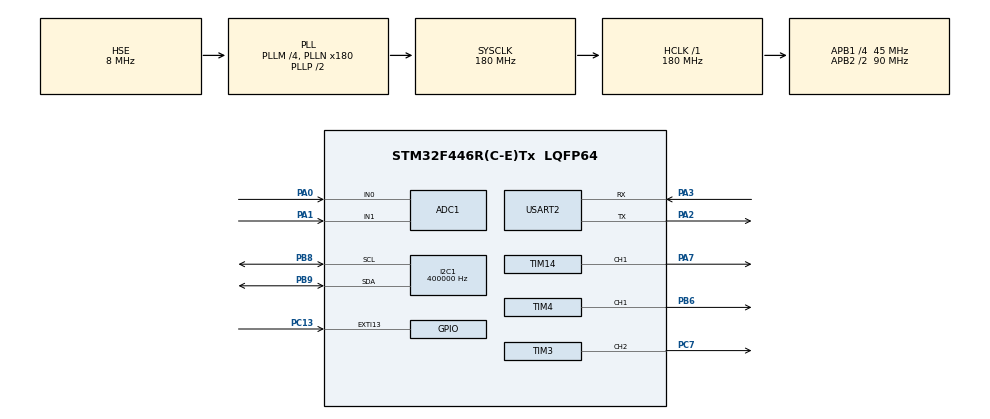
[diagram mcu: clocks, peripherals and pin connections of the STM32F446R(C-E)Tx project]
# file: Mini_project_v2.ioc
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ADC1.Channel-0\#ChannelRegularConversion=ADC_CHANNEL_0
ADC1.NbrOfConversionFlag=1
ADC1.Rank-0\#ChannelRegularConversion=1
ADC1.SamplingTime-0\#ChannelRegularConversion=ADC_SAMPLETIME_3CYCLES
ADC1.master=1
I2C1.ClockSpeed=400000
I2C1.I2C_Speed_Mode=I2C_Fast
Mcu.Family=STM32F4
Mcu.Name=STM32F446R(C-E)Tx
Mcu.Package=LQFP64
NVIC.EXTI15_10_IRQn=true\:0\:0\:false\:false\:true\:true\:true\:true
NVIC.PriorityGroup=NVIC_PRIORITYGROUP_4
NVIC.TIM2_IRQn=true\:0\:0\:false\:false\:true\:true\:true\:true
PA0-WKUP.Signal=ADCx_IN0
PA1.Signal=ADCx_IN1
PA2.Mode=Asynchronous
PA2.Signal=USART2_TX
PA3.Mode=Asynchronous
PA3.Signal=USART2_RX
PA7.Signal=S_TIM14_CH1
PB6.Signal=S_TIM4_CH1
PB8.Mode=I2C
PB8.Signal=I2C1_SCL
PB9.Mode=I2C
PB9.Signal=I2C1_SDA
PC13.GPIO_ModeDefaultEXTI=GPIO_MODE_IT_FALLING
PC13.Signal=GPXTI13
PC7.Signal=S_TIM3_CH2
PH0-OSC_IN.Mode=HSE-External-Clock-Source
PH0-OSC_IN.Signal=RCC_OSC_IN
PH1-OSC_OUT.Mode=HSE-External-Clock-Source
PH1-OSC_OUT.Signal=RCC_OSC_OUT
ProjectManager.HeapSize=0x200
ProjectManager.StackSize=0x1000
ProjectManager.TargetToolchain=STM32CubeIDE
RCC.AHBFreq_Value=180000000
RCC.APB1CLKDivider=RCC_HCLK_DIV4
RCC.APB1Freq_Value=45000000
RCC.APB1TimFreq_Value=90000000
RCC.APB2CLKDivider=RCC_HCLK_DIV2
RCC.APB2Freq_Value=90000000
RCC.APB2TimFreq_Value=180000000
RCC.CortexFreq_Value=180000000
RCC.HCLKFreq_Value=180000000
RCC.HSE_VALUE=8000000
RCC.PLLM=4
RCC.PLLN=180
RCC.PLLSourceVirtual=RCC_PLLSOURCE_HSE
RCC.SYSCLKFreq_VALUE=180000000
RCC.SYSCLKSource=RCC_SYSCLKSOURCE_PLLCLK
RCC.USBFreq_Value=180000000
RCC.VCOOutputFreq_Value=360000000
SH.ADCx_IN0.0=ADC1_IN0,IN0
SH.ADCx_IN1.0=ADC1_IN1,IN1
SH.S_TIM14_CH1.0=TIM14_CH1,PWM Generation1 CH1
SH.S_TIM3_CH2.0=TIM3_CH2,PWM Generation2 CH2
SH.S_TIM4_CH1.0=TIM4_CH1,PWM Generation1 CH1
STMicroelectronics.X-CUBE-AI.10.2.1.ActivationBufferSizeList=2672
STMicroelectronics.X-CUBE-AI.10.2.1.ActivationBuffers=pool0
STMicroelectronics.X-CUBE-AI.10.2.1.ActivationNames=pool0
STMicroelectronics.X-CUBE-AI.10.2.1.ActivationSizes=AI_NETWORK_DATA_ACTIVATION_1_SIZE
STMicroelectronics.X-CUBE-AI.10.2.1.HeapSize=0x800
STMicroelectronics.X-CUBE-AI.10.2.1.InternalRamActivationBufferMaxSize=AI_NETWORK_DATA_ACTIVATIONS_SIZE
STMicroelectronics.X-CUBE-AI.10.2.1.LatestDirectoryUsed-cf0006450a64355770e8880bdcd5a8620af22ce673d01f4f532666fdcc0a2b10=D\:\\STM Cube\\STM32 IDE workspace\\Mini_project_v2\\model_out
STMicroelectronics.X-CUBE-AI.10.2.1.MaximumNumberOfInputLayer=1
STMicroelectronics.X-CUBE-AI.10.2.1.MaximumNumberOfOutputLayer=1
STMicroelectronics.X-CUBE-AI.10.2.1.MaximumSizeOfInputLayer=1
STMicroelectronics.X-CUBE-AI.10.2.1.MaximumSizeOfOutputLayer=1,1
STMicroelectronics.X-CUBE-AI.10.2.1.ModelActualCompression-cf0006450a64355770e8880bdcd5a8620af22ce673d01f4f532666fdcc0a2b10=0.0
STMicroelectronics.X-CUBE-AI.10.2.1.ModelCompression-cf0006450a64355770e8880bdcd5a8620af22ce673d01f4f532666fdcc0a2b10=None
STMicroelectronics.X-CUBE-AI.10.2.1.ModelFlashOccupation-cf0006450a64355770e8880bdcd5a8620af22ce673d01f4f532666fdcc0a2b10=13472
STMicroelectronics.X-CUBE-AI.10.2.1.ModelHashList=cf0006450a64355770e8880bdcd5a8620af22ce673d01f4f532666fdcc0a2b10
STMicroelectronics.X-CUBE-AI.10.2.1.ModelKind-cf0006450a64355770e8880bdcd5a8620af22ce673d01f4f532666fdcc0a2b10=TFLITE
STMicroelectronics.X-CUBE-AI.10.2.1.ModelMacc-cf0006450a64355770e8880bdcd5a8620af22ce673d01f4f532666fdcc0a2b10=624
STMicroelectronics.X-CUBE-AI.10.2.1.ModelName-cf0006450a64355770e8880bdcd5a8620af22ce673d01f4f532666fdcc0a2b10=network
STMicroelectronics.X-CUBE-AI.10.2.1.ModelNameList=network
STMicroelectronics.X-CUBE-AI.10.2.1.ModelRamOccupation-cf0006450a64355770e8880bdcd5a8620af22ce673d01f4f532666fdcc0a2b10=2672
STMicroelectronics.X-CUBE-AI.10.2.1.ModelStructureFile-cf0006450a64355770e8880bdcd5a8620af22ce673d01f4f532666fdcc0a2b10=model_out/model.tflite
STMicroelectronics.X-CUBE-AI.10.2.1.ModelType-cf0006450a64355770e8880bdcd5a8620af22ce673d01f4f532666fdcc0a2b10=STM32Cube.AI MCU runtime
STMicroelectronics.X-CUBE-AI.10.2.1.ReadyForCodeGeneration=true
STMicroelectronics.X-CUBE-AI.10.2.1.StackSize=0x1000
STMicroelectronics.X-CUBE-AI.10.2.1.WorkingBufferStartAddrList=0xFFFFFFFF
STMicroelectronics.X-CUBE-AI.10.2.1.XAaCUBEAaAICcArtificialOoIntelligenceJjCore=true
STMicroelectronics.X-CUBE-AI.10.2.1.copyWeightToRam=false
STMicroelectronics.X-CUBE-AI.10.2.1.customLayerConfigEnabled=false
STMicroelectronics.X-CUBE-AI.10.2.1.noOnnxIoTranspose=false
STMicroelectronics.X-CUBE-AI.10.2.1.useInputAllocation=true
STMicroelectronics.X-CUBE-AI.10.2.1.useOutputAllocation=true
TIM14.AutoReloadPreload=TIM_AUTORELOAD_PRELOAD_ENABLE
TIM14.Channel=TIM_CHANNEL_1
TIM14.Period=999
TIM14.Prescaler=89
TIM2.AutoReloadPreload=TIM_AUTORELOAD_PRELOAD_ENABLE
TIM2.Period=9999
TIM2.Prescaler=8999
TIM3.AutoReloadPreload=TIM_AUTORELOAD_PRELOAD_ENABLE
TIM3.Channel-PWM\ Generation2\ CH2=TIM_CHANNEL_2
TIM3.Period=999
TIM3.Prescaler=89
TIM4.AutoReloadPreload=TIM_AUTORELOAD_PRELOAD_ENABLE
TIM4.Channel-PWM\ Generation1\ CH1=TIM_CHANNEL_1
TIM4.Period=999
TIM4.Prescaler=89
USART2.VirtualMode=VM_ASYNC
VP_STMicroelectronics.X-CUBE-AI_VS_ArtificialOoIntelligenceJjXAaCUBEAaAI_10.2.1.Mode=ArtificialOoIntelligenceJjXAaCUBEAaAI
VP_TIM14_VS_ClockSourceINT.Mode=Enable_Timer
VP_TIM2_VS_ClockSourceINT.Mode=Internal
board=custom

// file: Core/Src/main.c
/* USER CODE BEGIN Header */
/**
  ******************************************************************************
  * @file           : main.c
  * @brief          : Main program body
  ******************************************************************************
  * @attention
  *
  * Copyright (c) 2026 STMicroelectronics.
  * All rights reserved.
  *
  * This software is licensed under terms that can be found in the LICENSE file
  * in the root directory of this software component.
  * If no LICENSE file comes with this software, it is provided AS-IS.
  *
  ******************************************************************************
  */
/* USER CODE END Header */
#include "main.h"
#include "adc.h"
#include "i2c.h"
#include "tim.h"
#include "usart.h"
#include "gpio.h"

/* USER CODE BEGIN Includes */
#include "logging.h"
#include "sensor_acquisition.h"
#include "workload_generator.h"
#include "system_resource.h"
#include "app_config.h"
#include "feature_extraction.h"
#include "predictor.h"
#include "reaction.h"
#include "battery.h"
#include "fan.h"
#include "status_led.h"
#include "uart_cmd.h"
#include "oled.h"
/* USER CODE END Includes */

/* USER CODE BEGIN PV */
/* Set by interrupts; any of them wakes the main loop out of a busy slice or __WFI */
static volatile uint8_t tick_flag = 0;
static volatile uint8_t button_flag = 0;
static float pot_pct = 0.0f;          /* last pot dial reading, shown on the [SYS] line */
static volatile uint8_t app_event = 0;

static AppMode_t app_mode = APP_MODE_RUN;

/* Idle baseline for the die temperature */
static uint8_t  calibrating = 1;
static uint32_t baseline_n = 0;
static float    baseline_sum = 0.0f;
static float    baseline_c = 0.0f;

/* Moving average of the die temperature */
static float    temp_hist[TEMP_SMOOTH_N];
static uint32_t temp_count = 0;

/* Power averaged over each 1 s slot (sampled every POWER_SAMPLE_MS) */
static float    pwr_sum_mw = 0.0f;
static float    cur_sum_ma = 0.0f;
static float    volt_sum_v = 0.0f;
static uint32_t pwr_n = 0;
static uint32_t last_power_ms = 0;

static uint32_t slot_start_ms = 0;
static uint32_t last_tick_ms = 0;

static const char *LEVEL_NAMES[] = { "IDLE", "LOW", "MED", "HIGH" };

/* Static RAM (.data + .bss) from the linker script, shown on the OLED */
extern uint8_t _sdata, _ebss;
/* USER CODE END PV */

void SystemClock_Config(void);
/* USER CODE BEGIN PFP */
static const char *short_risk(RiskLevel_t r)
{
    static const char *n[] = { "NORM", "CAUT", "CRIT" };
    return (r <= RISK_CRITICAL) ? n[r] : "?";
}

/* One screen, refreshed every second; sent page by page from the main loop */
static void show_oled(uint8_t cal, const Prediction_t *pred, float rise, float t_die, float p_mw,
                      uint8_t wl_req, uint8_t wl_eff, const DataRecord_t *rec)
{
    static const char *MODE_SHORT[] = { "RUN", "COLLECT", "AUTO" };
    if (!Oled_IsEnabled()) return;

    if (cal) {
        Oled_Printf(0, 1, " Measuring baseline");
        Oled_Printf(1, 0, " keep the board idle");
    } else {
        uint8_t alert = Reaction_SafetyActive() || pred->temp_risk == RISK_CRITICAL;
        Oled_Printf(0, alert, "%-4s: %-8s %2lus", pred->model_used ? "ML" : "RULE",
                    Risk_Name(pred->temp_risk), (unsigned long)Predictor_GetHorizonS());
        Oled_Printf(1, 0, "Rule: %s", Risk_Name(pred->rule_temp_risk));
    }
    Oled_Printf(2, 0, "Rise %+.1fC  T %.1fC", (double)rise, (double)t_die);
    Oled_Printf(3, 0, "P%3.0fmW ML:%s R:%s", (double)p_mw, short_risk(pred->power_risk),
                short_risk(pred->rule_power_risk));
    Oled_Printf(4, 0, "WL %s>%s Fan %u%%", LEVEL_NAMES[wl_req], LEVEL_NAMES[wl_eff], (unsigned)Fan_GetPercent());
    Oled_Printf(5, 0, "Bat %.1f%% %.1fh", (double)Battery_GetPercent(), (double)Battery_GetHoursLeft());
    Oled_Printf(6, 0, "RAM %.1fK stack %luB", (double)((uint32_t)(&_ebss - &_sdata)) / 1024.0,
                (unsigned long)rec->stack_used_bytes);
    Oled_Printf(7, 0, "%s %s %luus%s", MODE_SHORT[rec->mode], pred->engine_xcubeai ? "XAI" : "C",
                (unsigned long)pred->inference_us, Reaction_SafetyActive() ? " SAFE" : "");
    Oled_Flush();
}

static void App_Tick(void);
/* USER CODE END PFP */

/* USER CODE BEGIN 0 */
void App_SetMode(AppMode_t mode)
{
    app_mode = mode;
    Workload_AutoEnable(mode == APP_MODE_AUTO, HAL_GetTick() ^ (uint32_t)(Sensor_ReadTempDie() * 1000.0f));
}

AppMode_t App_GetMode(void)
{
    return app_mode;
}

void App_RecalibrateBaseline(void)
{
    calibrating = 1;
    baseline_n = 0;
    baseline_sum = 0.0f;
    temp_count = 0;
    Features_Reset();
    Workload_SetCap(WORKLOAD_IDLE);   /* baseline must be measured at idle (no log: not a reaction) */
    StatusLed_ShowCalibrating();
    LOG_INFO(TAG_SENS, "Measuring idle baseline for %u s...", (unsigned)BASELINE_SAMPLES);
}

static void sample_power(void)
{
    float v, i, p;
    if (Sensor_ReadPower(&v, &i, &p)) {
        pwr_sum_mw += p;
        cur_sum_ma += i;
        volt_sum_v += v;
        pwr_n++;
    }
}

static float smooth_temp(float t)
{
    temp_hist[temp_count % TEMP_SMOOTH_N] = t;
    temp_count++;
    uint32_t n = (temp_count < TEMP_SMOOTH_N) ? temp_count : TEMP_SMOOTH_N;
    float sum = 0.0f;
    for (uint32_t i = 0; i < n; i++) sum += temp_hist[i];
    return sum / (float)n;
}

/* One pass of the pipeline, once per TIM2 tick:
 * sense -> features -> predict -> react -> battery -> output */
static void App_Tick(void)
{
    uint32_t now = HAL_GetTick();
    float dt_s = (last_tick_ms == 0) ? (SAMPLE_PERIOD_MS / 1000.0f) : (now - last_tick_ms) / 1000.0f;
    last_tick_ms = now;

    SensorReading_t r;
    if (!Sensor_ReadAll(&r)) {
        LOG_WARN(TAG_SENS, "INA219 read failed this tick");
    }
    if (pwr_n > 0) {
        /* Replace the single snapshot with the average over the whole slot */
        r.power_mw = pwr_sum_mw / (float)pwr_n;
        r.current_ma = cur_sum_ma / (float)pwr_n;
        r.voltage_v = volt_sum_v / (float)pwr_n;
    }
    pwr_sum_mw = cur_sum_ma = volt_sum_v = 0.0f;
    pwr_n = 0;

    float t_smooth = smooth_temp(r.temp_die_c);
    if (calibrating) {
        baseline_sum += r.temp_die_c;
        if (++baseline_n >= BASELINE_SAMPLES) {
            baseline_c = baseline_sum / (float)baseline_n;
            calibrating = 0;
            Reaction_Init();
            LOG_INFO(TAG_SENS, "Baseline %.2f C. Limits: caution +%.1f C, critical +%.1f C",
                     (double)baseline_c, (double)Predictor_GetCautionRise(), (double)Predictor_GetCriticalRise());
        }
    }
    float rise = calibrating ? 0.0f : (t_smooth - baseline_c);

    if (app_mode == APP_MODE_AUTO && !calibrating) {
        Workload_AutoStep(now);
    }

    /* The level that ran during the slot just finished: this is what the model sees */
    uint8_t wl_req = (uint8_t)Workload_GetLevel();
    uint8_t wl_eff = (uint8_t)Workload_GetEffectiveLevel();

    float feat[FEAT_COUNT];
    Features_Update(rise, r.power_mw, wl_eff, feat);

    Prediction_t pred;
    Predictor_Run(feat, &pred);

    Battery_Update(r.power_mw, dt_s);

    if (!calibrating) {
        Reaction_Update(&pred, rise, Battery_GetPercent(), app_mode == APP_MODE_RUN);
        StatusLed_ShowRisk(Reaction_SafetyActive() ? RISK_CRITICAL : pred.temp_risk);
    }

    DataRecord_t rec = {
        .timestamp_ms     = now,
        .power_mw         = r.power_mw,
        .voltage_v        = r.voltage_v,
        .current_ma       = r.current_ma,
        .temp_die_c       = r.temp_die_c,
        .temp_rise_c      = rise,
        .temp_ambient_c   = r.temp_ambient_c,
        .workload_req     = wl_req,
        .workload_eff     = wl_eff,
        .cpu_freq_hz      = System_GetCpuFreqHz(),
        .stack_used_bytes = System_GetStackUsedBytes(),
        .heap_used_bytes  = System_GetHeapUsedBytes(),
        .fan_pct          = Fan_GetPercent(),
        .temp_risk        = (uint8_t)pred.temp_risk,
        .power_risk       = (uint8_t)pred.power_risk,
        .rule_temp_risk   = (uint8_t)pred.rule_temp_risk,
        .mode             = (uint8_t)app_mode,
    };
    Log_Data(&rec);

    LOG_INFO(TAG_DISP, "T=%.1fC Ta=%.1fC rise=%+.1fC slope=%+.2fC/s P=%.0fmW WL=%s/%s TEMP(%s):%s TEMP(rule):%s PWR(%s):%s PWR(rule):%s fan=%u%% bat=%.1f%% %.1fh",
             (double)r.temp_die_c, (double)r.temp_ambient_c, (double)rise, (double)feat[FEAT_TEMP_SLOPE10], (double)r.power_mw,
             LEVEL_NAMES[wl_req], LEVEL_NAMES[Workload_GetEffectiveLevel()],
             pred.model_used ? "ML" : "RULE", Risk_Name(pred.temp_risk), Risk_Name(pred.rule_temp_risk),
             pred.model_used ? "ML" : "RULE", Risk_Name(pred.power_risk), Risk_Name(pred.rule_power_risk),
             (unsigned)Fan_GetPercent(),
             (double)Battery_GetPercent(), (double)Battery_GetHoursLeft());
    if (pred.engine_xcubeai) {
        LOG_INFO(TAG_SYS, "CPU=%luMHz stack=%luB heap=%luB inference: X-CUBE-AI %luus, plain C %luus, differ %lu pot=%.0f%%(%s)",
                 (unsigned long)(rec.cpu_freq_hz / 1000000u), (unsigned long)rec.stack_used_bytes,
                 (unsigned long)rec.heap_used_bytes, (unsigned long)pred.inference_xai_us,
                 (unsigned long)pred.inference_c_us, (unsigned long)Predictor_GetEngineMismatches(),
                 (double)pot_pct, Workload_PotIsEnabled() ? "ON" : "off");
    } else {
        LOG_INFO(TAG_SYS, "CPU=%luMHz stack=%luB heap=%luB inference=%luus (plain C) pot=%.0f%%(%s)",
                 (unsigned long)(rec.cpu_freq_hz / 1000000u), (unsigned long)rec.stack_used_bytes,
                 (unsigned long)rec.heap_used_bytes, (unsigned long)pred.inference_us,
                 (double)pot_pct, Workload_PotIsEnabled() ? "ON" : "off, type WL POT");
    }

    show_oled(calibrating, &pred, rise, r.temp_die_c, r.power_mw, wl_req, Workload_GetEffectiveLevel(), &rec);
}

void HAL_TIM_PeriodElapsedCallback(TIM_HandleTypeDef *htim)
{
    if (htim->Instance == TIM2) {
        tick_flag = 1;
        app_event = 1;
    }
}

void HAL_GPIO_EXTI_Callback(uint16_t GPIO_Pin)
{
    static uint32_t last_press_ms = 0;
    if (GPIO_Pin == GPIO_PIN_13 && (HAL_GetTick() - last_press_ms) > 250u) {
        last_press_ms = HAL_GetTick();
        button_flag = 1;
        app_event = 1;
    }
}
/* USER CODE END 0 */

int main(void)
{

  /* MCU Configuration--------------------------------------------------------*/

  /* Reset of all peripherals, Initializes the Flash interface and the Systick. */
  HAL_Init();

  /* USER CODE BEGIN Init */
  System_ResourceInit();   /* paint the stack canary before any deep calls */
  /* USER CODE END Init */

  /* Configure the system clock */
  SystemClock_Config();

  /* Initialize all configured peripherals */
  MX_GPIO_Init();
  MX_ADC1_Init();
  MX_I2C1_Init();
  MX_TIM2_Init();
  MX_TIM3_Init();
  MX_TIM4_Init();
  MX_TIM14_Init();
  MX_USART2_UART_Init();
  /* USER CODE BEGIN 2 */
  Log_Init(&huart2);
  LOG_INFO(TAG_SENS, "Logging initialized, build %s %s", __DATE__, __TIME__);

  if (!Sensor_Init()) {
      LOG_ERROR(TAG_SENS, "Sensor init failed — halting");
      Error_Handler();
  }
  Oled_Init();
  StatusLed_Init();
  Fan_Init();
  Battery_Init();
  Predictor_Init();
  Reaction_Init();
  Cmd_Init(&huart2);
  Workload_SetLevel(WORKLOAD_IDLE);
  App_RecalibrateBaseline();
  HAL_TIM_Base_Start_IT(&htim2);
  LOG_INFO(TAG_SYS, "CPU %lu Hz, horizon %lu s. Type HELP for commands.",
           (unsigned long)System_GetCpuFreqHz(), (unsigned long)Predictor_GetHorizonS());
  /* USER CODE END 2 */

  /* Infinite loop */
  /* USER CODE BEGIN WHILE */
  while (1)
  {
    app_event = 0;

    Cmd_Poll();
    Fan_Service();
    Oled_Service();

    if (button_flag) {
        button_flag = 0;
        if (app_mode == APP_MODE_AUTO) {
            LOG_WARN(TAG_WKLD, "Button ignored in AUTO mode");
        } else {
            if (Workload_PotIsEnabled()) {
                Workload_PotEnable(0);
            }
            Workload_CycleLevel();
        }
    }

    if (tick_flag) {
        tick_flag = 0;
        slot_start_ms = HAL_GetTick();
        App_Tick();
        /* The dial sets the level for the slot that starts now */
        pot_pct = Sensor_ReadPotPercent();
        if (app_mode != APP_MODE_AUTO) {
            Workload_PotUpdate(pot_pct);
        }
    }

    if ((HAL_GetTick() - last_power_ms) >= POWER_SAMPLE_MS) {
        last_power_ms = HAL_GetTick();
        sample_power();
    }

    /* Busy part of the slot (duty cycle of the effective level), then sleep.
     * Any interrupt (tick, UART byte, button, SysTick) ends the sleep. */
    uint32_t busy_ms = SAMPLE_PERIOD_MS * Workload_GetDutyPercent() / 100u;
    if ((HAL_GetTick() - slot_start_ms) < busy_ms) {
        Workload_RunSlice(slot_start_ms, SAMPLE_PERIOD_MS, &app_event);
    } else if (!app_event && !cmd_line_ready) {
        __WFI();
    }
    /* USER CODE END WHILE */

  }
}

void SystemClock_Config(void)
{
  RCC_OscInitTypeDef RCC_OscInitStruct = {0};
  RCC_ClkInitTypeDef RCC_ClkInitStruct = {0};

  /** Configure the main internal regulator output voltage
  */
  __HAL_RCC_PWR_CLK_ENABLE();
  __HAL_PWR_VOLTAGESCALING_CONFIG(PWR_REGULATOR_VOLTAGE_SCALE1);

  /** Initializes the RCC Oscillators according to the specified parameters
  * in the RCC_OscInitTypeDef structure.
  */
  RCC_OscInitStruct.OscillatorType = RCC_OSCILLATORTYPE_HSE;
  RCC_OscInitStruct.HSEState = RCC_HSE_BYPASS;
  RCC_OscInitStruct.PLL.PLLState = RCC_PLL_ON;
  RCC_OscInitStruct.PLL.PLLSource = RCC_PLLSOURCE_HSE;
  RCC_OscInitStruct.PLL.PLLM = 4;
  RCC_OscInitStruct.PLL.PLLN = 180;
  RCC_OscInitStruct.PLL.PLLP = RCC_PLLP_DIV2;
  RCC_OscInitStruct.PLL.PLLQ = 2;
  RCC_OscInitStruct.PLL.PLLR = 2;
  if (HAL_RCC_OscConfig(&RCC_OscInitStruct) != HAL_OK)
  {
    Error_Handler();
  }

  /** Activate the Over-Drive mode
  */
  if (HAL_PWREx_EnableOverDrive() != HAL_OK)
  {
    Error_Handler();
  }

  /** Initializes the CPU, AHB and APB buses clocks
  */
  RCC_ClkInitStruct.ClockType = RCC_CLOCKTYPE_HCLK|RCC_CLOCKTYPE_SYSCLK
                              |RCC_CLOCKTYPE_PCLK1|RCC_CLOCKTYPE_PCLK2;
  RCC_ClkInitStruct.SYSCLKSource = RCC_SYSCLKSOURCE_PLLCLK;
  RCC_ClkInitStruct.AHBCLKDivider = RCC_SYSCLK_DIV1;
  RCC_ClkInitStruct.APB1CLKDivider = RCC_HCLK_DIV4;
  RCC_ClkInitStruct.APB2CLKDivider = RCC_HCLK_DIV2;

  if (HAL_RCC_ClockConfig(&RCC_ClkInitStruct, FLASH_LATENCY_5) != HAL_OK)
  {
    Error_Handler();
  }
}

void Error_Handler(void)
{
  __disable_irq();
  while (1)
  {
  }
}
